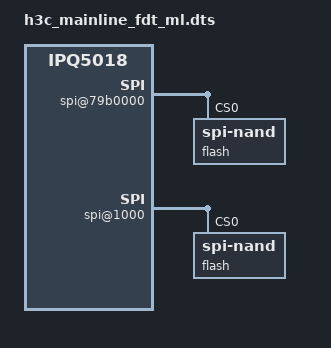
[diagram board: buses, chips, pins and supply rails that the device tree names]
/dts-v1/;
/ { compatible = "h3c,magic-nx30", "qcom,ipq5018";
  soc { #address-cells = <1>; #size-cells = <1>;
    spi@79b0000 { compatible = "qcom,ipq5018-snand", "qcom,ipq9574-snand"; reg = <0x79b0000 0x10000>; #address-cells = <1>; #size-cells = <0>;
      flash@0 { compatible = "spi-nand"; reg = <0>; nand-ecc-strength = <4>;
        partitions { compatible = "qcom,smem-part"; }; }; };
    spi@1000 { compatible = "vendor,other-spi"; reg = <0x1000 0x100>; #address-cells = <1>; #size-cells = <0>;
      flash@0 { compatible = "spi-nand"; reg = <0>; }; }; }; };
